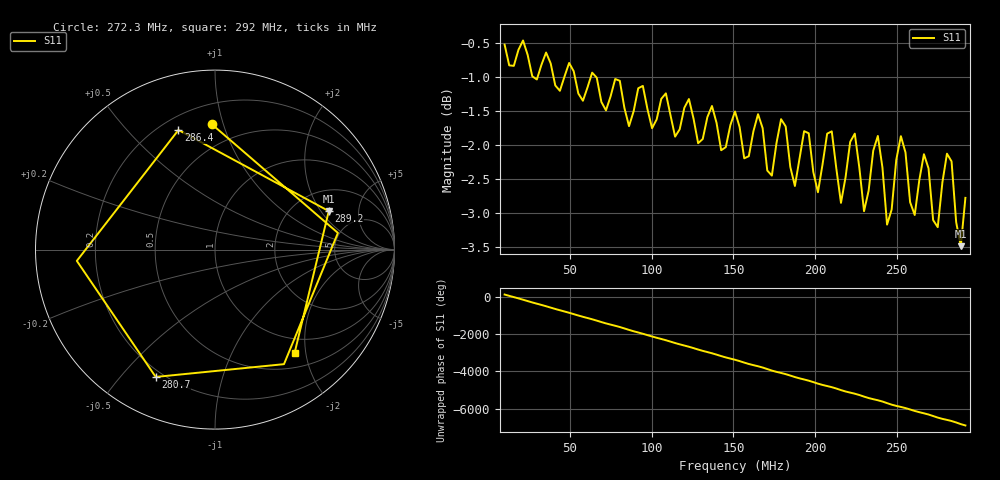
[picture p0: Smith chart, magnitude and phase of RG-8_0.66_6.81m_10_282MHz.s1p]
! File created by NanoVNA (https://gen111.taobao.com/)
! Start 10000000Hz  Stop 292000000Hz  Points 101
# HZ S MA R 50
!S - Parameter data, F S11
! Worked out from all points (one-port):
!   101 points, 10 MHz to 292 MHz, reference 50 ohm
!   lowest |S11| = -3.5 dB at 289.2 MHz (marker M1), VSWR 5.05, Z = 153 + j119 ohm
!   |S11| at or under -10 dB: nowhere
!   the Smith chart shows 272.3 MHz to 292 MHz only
!   S11 on the Smith chart (normalised r, x): 272.3 MHz: 0.33, +0.92; 280.7 MHz: 0.17, -0.62; 286.4 MHz: 0.27, +0.70; 289.2 MHz: 3.07, +2.38; 292 MHz: 0.74, -1.80
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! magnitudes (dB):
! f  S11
! 10 MHz  -0.5
! 46.66 MHz  -1.0
! 80.5 MHz  -1.1
! 86.14 MHz  -1.7
! 94.6 MHz  -1.1
! 117.2 MHz  -1.8
! 151 MHz  -1.5
! 156.6 MHz  -2.2
! 165.1 MHz  -1.6
! 173.6 MHz  -2.5
! 179.2 MHz  -1.6
! 187.7 MHz  -2.6
! 193.3 MHz  -1.8
! 201.8 MHz  -2.7
! 210.2 MHz  -1.8
! 215.9 MHz  -2.9
! 221.5 MHz  -2.0
! 230 MHz  -3.0
! 238.4 MHz  -1.9
! 244.1 MHz  -3.2
! 252.5 MHz  -1.9
! 258.2 MHz  -2.8
! 266.6 MHz  -2.1
! 272.3 MHz  -3.1
! 280.7 MHz  -2.1
! 286.4 MHz  -3.1
! 289.2 MHz  -3.5
! 292 MHz  -2.8
